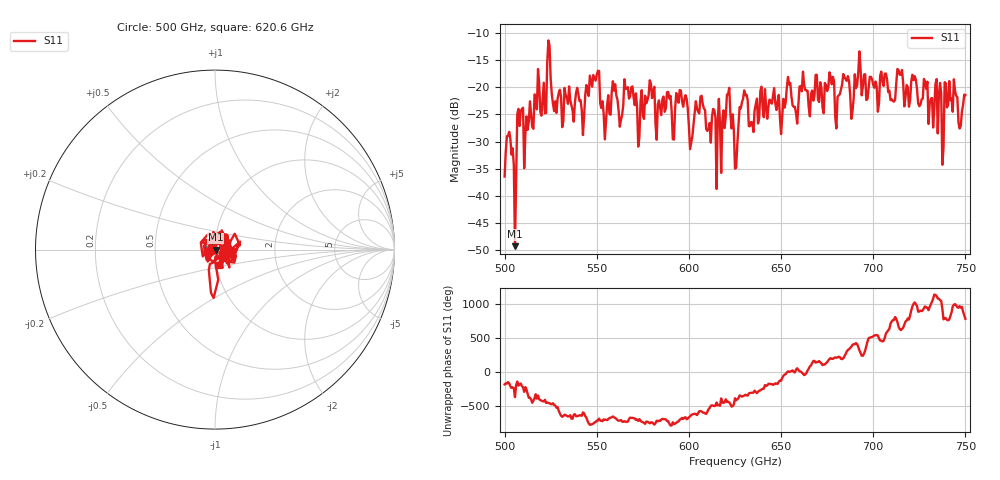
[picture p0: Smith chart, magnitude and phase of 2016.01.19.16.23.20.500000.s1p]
!Created with skrf (http://scikit-rf.org).
# GHz S RI R 50.0
!freq ReS11 ImS11
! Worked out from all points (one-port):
!   401 points, 500 GHz to 750 GHz, reference 50 ohm
!   lowest |S11| = -49.3 dB at 505.6 GHz (marker M1), VSWR 1.01, Z = 50.3 - j0.0344 ohm
!   |S11| at or under -10 dB: start of sweep to end of sweep
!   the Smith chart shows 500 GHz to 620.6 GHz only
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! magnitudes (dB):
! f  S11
! 500 GHz  -36.4
! 502.5 GHz  -28.2
! 505.6 GHz  -49.3
! 508.1 GHz  -27.1
! 511.9 GHz  -25.4
! 524.4 GHz  -12.3
! 526.9 GHz  -24.4
! 531.2 GHz  -27.4
! 541.9 GHz  -24.3
! 550 GHz  -17.7
! 553.8 GHz  -24.9
! 559.4 GHz  -20.6
! 562.5 GHz  -27.3
! 566.2 GHz  -20.2
! 571.9 GHz  -23.6
! 593.8 GHz  -22.1
! 616.2 GHz  -22.2
! 621.2 GHz  -21.3
! 625 GHz  -35.0
! 630 GHz  -20.6
! 633.8 GHz  -26.4
! 656.2 GHz  -23.4
! 687.5 GHz  -21.5
! 691.9 GHz  -17.3
! 710.6 GHz  -22.6
! 714.4 GHz  -17.7
! 718.8 GHz  -20.0
! 750 GHz  -21.5
